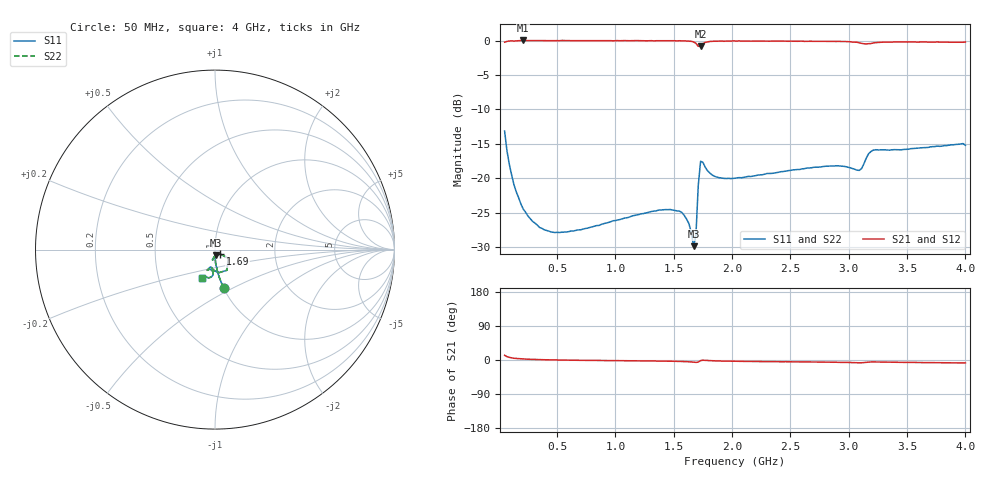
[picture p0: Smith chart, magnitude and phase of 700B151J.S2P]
!  American Technical Ceramics  Date:  3/13/98
!  One Norden Lane
!  Huntington Station,  NY.  11746-2102
!  Tel:  (516) 547-5700  Fax:  (516) 547-5748
!  Part Number  700B151J
!  Description: Porcelain, High Q, Low ESR
!  Application: Bypass, Coupling, Timing, Feedback
!  Tuning, Impedance Match, Blocking
# GHZ S DB R 50
! Freq  |S11|  S11 Ph  |S21|  S21 Ph  |S12|  S12 Ph  |S22|  S22 Ph
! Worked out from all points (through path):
!   201 points, 50 MHz to 4 GHz, reference 50 ohm
!   highest |S21| = 0.01 dB at 210 MHz (marker M1); lowest = -0.9 dB at 1.73 GHz (marker M2)
!   group delay of S21, straight-line fit = 6.93 ps
!   lowest |S11| = -29.9 dB at 1.67 GHz (marker M3), VSWR 1.07, Z = 50.4 - j3.21 ohm
!   |S11| at or under -10 dB: start of sweep to end of sweep
!   |S22| runs from -29.9 to -13.1 dB; largest |S21 - S12| = 0
!   S11 on the Smith chart (normalised r, x): 50 MHz: 1.00, -0.45; 1.69 GHz: 1.06, -0.05; 4 GHz: 0.83, -0.27
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0.05  -13.14 -77.5  -0.24 12.5  -0.24 12.5  -13.14 -77.5
0.09  -17.94 -83.6  -0.07 6.9  -0.07 6.9  -17.94 -83.6
0.13  -20.92 -86.2  -0.08 4.5  -0.08 4.5  -20.92 -86.2
0.21  -24.47 -88.4  0.01 2.8  0.01 2.8  -24.47 -88.4
0.39  -27.47 -90.3  0.00 0.6  0.00 0.6  -27.47 -90.3
0.72  -27.38 -94.8  -0.02 -0.9  -0.02 -0.9  -27.38 -94.8
1.37  -24.62 -102.0  -0.03 -2.8  -0.03 -2.8  -24.62 -102.0
1.57  -24.96 -103.9  -0.05 -3.9  -0.05 -3.9  -24.96 -103.9
1.63  -26.58 -101.2  -0.09 -4.6  -0.09 -4.6  -26.58 -101.2
1.67  -29.85 -81.1  -0.21 -5.7  -0.21 -5.7  -29.85 -81.1
1.69  -28.28 -39.8  -0.40 -6.3  -0.40 -6.3  -28.28 -39.8
1.71  -21.05 -33.2  -0.83 -5.5  -0.83 -5.5  -21.05 -33.2
1.73  -17.53 -59.9  -0.86 -1.6  -0.86 -1.6  -17.53 -59.9
1.77  -18.40 -89.5  -0.27 -0.9  -0.27 -0.9  -18.40 -89.5
1.85  -19.71 -100.0  -0.09 -2.4  -0.09 -2.4  -19.71 -100.0
2.03  -19.98 -104.1  -0.07 -3.4  -0.07 -3.4  -19.98 -104.1
2.7  -18.40 -109.3  -0.11 -5.1  -0.11 -5.1  -18.40 -109.3
2.91  -18.18 -110.5  -0.12 -6.2  -0.12 -6.2  -18.18 -110.5
3.09  -18.85 -102.3  -0.33 -7.4  -0.33 -7.4  -18.85 -102.3
3.19  -16.12 -99.3  -0.44 -5.2  -0.44 -5.2  -16.12 -99.3
3.35  -15.91 -108.7  -0.23 -5.7  -0.23 -5.7  -15.91 -108.7
4  -15.20 -114.3  -0.22 -7.8  -0.22 -7.8  -15.20 -114.3
